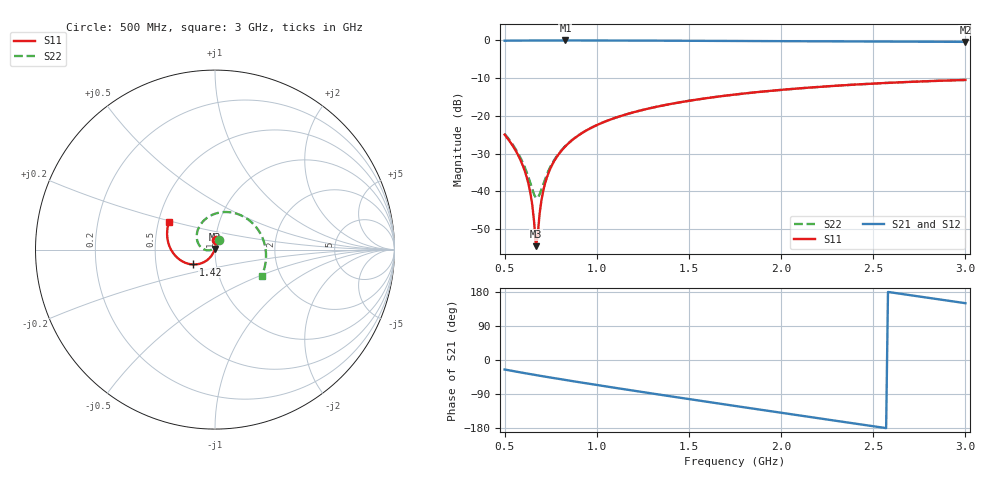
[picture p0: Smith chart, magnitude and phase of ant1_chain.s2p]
! Created with skrf 2.1.0 (http://scikit-rf.org).
# GHz S RI R 55.47
!freq ReS11 ImS11 ReS21 ImS21 ReS12 ImS12 ReS22 ImS22
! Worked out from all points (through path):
!   251 points, 500 MHz to 3 GHz, reference 55.47 ohm
!   highest |S21| = -0.03 dB at 830 MHz (marker M1); lowest = -0.4 dB at 3 GHz (marker M2)
!   group delay of S21, straight-line fit = 203 ps
!   lowest |S11| = -54.5 dB at 670 MHz (marker M3), VSWR 1.00, Z = 55.3 + j0.14 ohm
!   |S11| at or under -10 dB: start of sweep to end of sweep
!   |S22| runs from -41.8 to -10.5 dB; largest |S21 - S12| = 6.1e-16
!   S11 on the Smith chart (normalised r, x): 500 MHz: 1.01, +0.11; 1.42 GHz: 0.77, -0.13; 3 GHz: 0.57, +0.19
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0.5  0.00777 0.0558  0.8959 -0.4192  0.8959 -0.4192  0.0229 0.053
0.57  0.00583 0.0307  0.8477 -0.5161  0.8477 -0.5161  0.0147 0.0294
0.62  0.00276 0.0151  0.8078 -0.5792  0.8078 -0.5792  0.00618 0.0167
0.64  0.00122 0.0094  0.7908 -0.603  0.7908 -0.603  0.00233 0.0126
0.65  0.000389 0.00663  0.7821 -0.6146  0.7821 -0.6146  0.000337 0.0107
0.66  -0.000479 0.00392  0.7732 -0.6261  0.7732 -0.6261  -0.0017 0.00889
0.67  -0.00138 0.00127  0.7642 -0.6373  0.7642 -0.6373  -0.00378 0.00724
0.68  -0.00232 -0.00133  0.755 -0.6484  0.755 -0.6484  -0.0059 0.0057
0.69  -0.0033 -0.00386  0.7457 -0.6593  0.7457 -0.6593  -0.00805 0.00428
0.7  -0.0043 -0.00635  0.7363 -0.67  0.7363 -0.67  -0.0102 0.00298
0.72  -0.00641 -0.0112  0.7171 -0.6909  0.7171 -0.6909  -0.0146 0.000705
0.76  -0.011 -0.0202  0.6772 -0.7304  0.6772 -0.7304  -0.0237 -0.00253
0.83  -0.0199 -0.0341  0.6032 -0.7928  0.6032 -0.7928  -0.0397 -0.00424
0.92  -0.0329 -0.0491  0.5016 -0.8604  0.5016 -0.8604  -0.0593 0.000245
1.09  -0.0607 -0.0694  0.2952 -0.9494  0.2952 -0.9494  -0.0886 0.0257
1.34  -0.1058 -0.0826  -0.0234 -0.9899  -0.0234 -0.9899  -0.1008 0.0887
1.42  -0.1206 -0.083  -0.1246 -0.9807  -0.1246 -0.9807  -0.0951 0.1114
1.75  -0.1793 -0.067  -0.5089 -0.839  -0.5089 -0.839  -0.0229 0.1901
2.17  -0.2379 -0.0125  -0.8522 -0.4656  -0.8522 -0.4656  0.1391 0.1933
2.38  -0.2562 0.0252  -0.9387 -0.2291  -0.9387 -0.2291  0.2158 0.1404
2.59  -0.2657 0.0671  -0.9615 0.0194  -0.9615 0.0194  0.2682 0.0563
3  -0.2567 0.1526  -0.8258 0.4784  -0.8258 0.4784  0.2601 -0.1467
